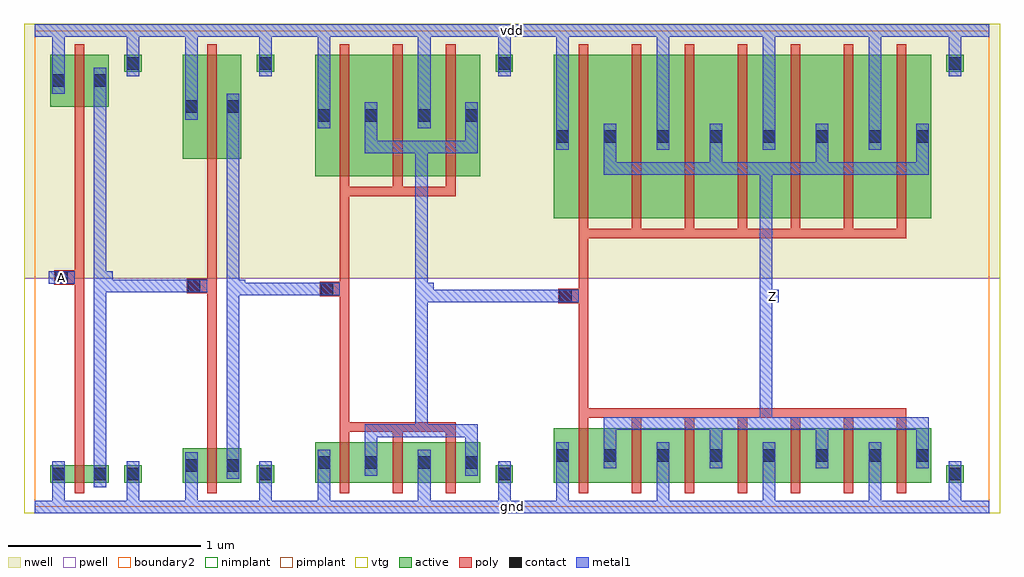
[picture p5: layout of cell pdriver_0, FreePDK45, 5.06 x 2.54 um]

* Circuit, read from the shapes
.subckt pdriver_0 A Z gnd vdd
M1 pinv_7_1/A A gnd gnd nfet w=0.09u l=0.05u
M2 pinv_8_2/A pinv_7_1/A gnd gnd nfet w=0.18u l=0.05u
M3 pinv_9_3/A pinv_8_2/A gnd gnd nfet w=0.21u l=0.05u m=3
M4 Z pinv_9_3/A gnd gnd nfet w=0.2825u l=0.05u m=7
M5 pinv_7_1/A A vdd vdd pfet w=0.27u l=0.05u
M6 pinv_8_2/A pinv_7_1/A vdd vdd pfet w=0.54u l=0.05u
M7 pinv_9_3/A pinv_8_2/A vdd vdd pfet w=0.63u l=0.05u m=3
M8 Z pinv_9_3/A vdd vdd pfet w=0.8475u l=0.05u m=7
.ends

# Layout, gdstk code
import gdstk
lib = gdstk.Library(unit=1e-6, precision=5e-10)
def R(c, l, rs):  # rectangles x0, y0, x1, y1
    for r in rs: c.add(gdstk.rectangle(r[:2], r[2:], *l))
def A(c, l, x, y, w, h, nx, ny, dx, dy):  # array of equal rectangles
    R(c, l, [(x+i*dx, y+j*dy, x+i*dx+w, y+j*dy+h) for i in range(nx) for j in range(ny)])
active = (1, 0)
pwell = (2, 0)
nwell = (3, 0)
nimplant = (4, 0)
pimplant = (5, 0)
vtg = (6, 0)
poly = (9, 0)
contact = (10, 0)
metal1 = (11, 0)
boundary2 = (239, 0)

contact_11 = lib.new_cell('contact_11')
R(contact_11, active, [(0,0.0225,0.09,0.1125)])
R(contact_11, nwell, [(-0.055,-0.0325,0.145,0.1675)])
R(contact_11, pimplant, [(0,0.0225,0.09,0.1125)])
R(contact_11, contact, [(0.0125,0.035,0.0775,0.1)])
R(contact_11, metal1, [(0.0125,0,0.0775,0.135)])
R(contact_11, boundary2, [(-0.055,-0.0325,0.145,0.1675)])

pmos_m1_w0_270_sm1_dm1_d = lib.new_cell('pmos_m1_w0_270_sm1_dm1_da_p')
R(pmos_m1_w0_270_sm1_dm1_d, active, [(0,0,0.305,0.27)])
R(pmos_m1_w0_270_sm1_dm1_d, nwell, [(-0.08,-0.08,0.385,0.35)])
R(pmos_m1_w0_270_sm1_dm1_d, pimplant, [(0,0,0.305,0.27)])
R(pmos_m1_w0_270_sm1_dm1_d, vtg, [(-0.08,-0.08,0.385,0.35)])
R(pmos_m1_w0_270_sm1_dm1_d, poly, [(0.1275,-0.055,0.1775,0.325), (0.1275,-0.055,0.1775,0.325)])
R(pmos_m1_w0_270_sm1_dm1_d, metal1, [(0.0125,0.0675,0.0775,0.2025), (0.2275,0.0675,0.2925,0.2025)])
R(pmos_m1_w0_270_sm1_dm1_d, boundary2, [(-0.08,-0.08,0.385,0.35)])
pmos_m1_w0_270_sm1_dm1_d.add(gdstk.Reference(contact_11, (0,0.0675)))
pmos_m1_w0_270_sm1_dm1_d.add(gdstk.Reference(contact_11, (0.215,0.0675)))
pmos_m1_w0_270_sm1_dm1_d.add(gdstk.Label('G', (0.1525,0.135), layer=9, texttype=0))
pmos_m1_w0_270_sm1_dm1_d.add(gdstk.Label('S', (0.045,0.135), layer=11, texttype=0))
pmos_m1_w0_270_sm1_dm1_d.add(gdstk.Label('D', (0.26,0.135), layer=11, texttype=0))

contact_10 = lib.new_cell('contact_10')
R(contact_10, active, [(0,0.0225,0.09,0.1125)])
R(contact_10, pwell, [(-0.055,-0.0325,0.145,0.1675)])
R(contact_10, nimplant, [(0,0.0225,0.09,0.1125)])
R(contact_10, contact, [(0.0125,0.035,0.0775,0.1)])
R(contact_10, metal1, [(0.0125,0,0.0775,0.135)])
R(contact_10, boundary2, [(-0.055,-0.0325,0.145,0.1675)])

nmos_m1_w0_090_sm1_dm1_d = lib.new_cell('nmos_m1_w0_090_sm1_dm1_da_p')
R(nmos_m1_w0_090_sm1_dm1_d, active, [(0,0,0.305,0.09)])
R(nmos_m1_w0_090_sm1_dm1_d, pwell, [(-0.08,-0.08,0.385,0.17)])
R(nmos_m1_w0_090_sm1_dm1_d, nimplant, [(0,0,0.305,0.09)])
R(nmos_m1_w0_090_sm1_dm1_d, vtg, [(-0.08,-0.08,0.385,0.17)])
R(nmos_m1_w0_090_sm1_dm1_d, poly, [(0.1275,-0.055,0.1775,0.145), (0.1275,-0.055,0.1775,0.145)])
R(nmos_m1_w0_090_sm1_dm1_d, metal1, [(0.0125,-0.0225,0.0775,0.1125), (0.2275,-0.0225,0.2925,0.1125)])
R(nmos_m1_w0_090_sm1_dm1_d, boundary2, [(-0.08,-0.08,0.385,0.17)])
nmos_m1_w0_090_sm1_dm1_d.add(gdstk.Reference(contact_10, (0,-0.0225)))
nmos_m1_w0_090_sm1_dm1_d.add(gdstk.Reference(contact_10, (0.215,-0.0225)))
nmos_m1_w0_090_sm1_dm1_d.add(gdstk.Label('G', (0.1525,0.045), layer=9, texttype=0))
nmos_m1_w0_090_sm1_dm1_d.add(gdstk.Label('S', (0.045,0.045), layer=11, texttype=0))
nmos_m1_w0_090_sm1_dm1_d.add(gdstk.Label('D', (0.26,0.045), layer=11, texttype=0))

contact_12 = lib.new_cell('contact_12')
R(contact_12, active, [(0,0.0225,0.09,0.1125)])
R(contact_12, nwell, [(-0.055,-0.0325,0.145,0.1675)])
R(contact_12, nimplant, [(0,0.0225,0.09,0.1125)])
R(contact_12, contact, [(0.0125,0.035,0.0775,0.1)])
R(contact_12, metal1, [(0.0125,0,0.0775,0.135)])
R(contact_12, boundary2, [(-0.055,-0.0325,0.145,0.1675)])

contact_13 = lib.new_cell('contact_13')
R(contact_13, active, [(0,0.0225,0.09,0.1125)])
R(contact_13, pwell, [(-0.055,-0.0325,0.145,0.1675)])
R(contact_13, pimplant, [(0,0.0225,0.09,0.1125)])
R(contact_13, contact, [(0.0125,0.035,0.0775,0.1)])
R(contact_13, metal1, [(0.0125,0,0.0775,0.135)])
R(contact_13, boundary2, [(-0.055,-0.0325,0.145,0.1675)])

contact_14 = lib.new_cell('contact_14')
R(contact_14, poly, [(0.03,0,0.105,0.075)])
R(contact_14, contact, [(0.035,0.005,0.1,0.07)])
R(contact_14, metal1, [(0,0.005,0.135,0.07)])
R(contact_14, boundary2, [(0,0,0.135,0.075)])

pinv_6 = lib.new_cell('pinv_6')
R(pinv_6, pwell, [(-0.055,-0.0325,0.7425,1.185)])
R(pinv_6, nwell, [(-0.055,1.185,0.7425,2.505)])
R(pinv_6, vtg, [(-0.055,-0.0325,0.7425,1.185), (-0.055,1.185,0.7425,2.505)])
R(pinv_6, poly, [(0.2075,0.27,0.2575,2.02), (0.14,1.1525,0.2075,1.2275)])
R(pinv_6, metal1, [(0,-0.0325,0.6875,0.0325), (0.0925,-0.0325,0.1575,0.1025), (0.4775,0,0.5425,0.17), (0.3075,0.1025,0.3725,2.2775), (0.0725,1.1575,0.2075,1.2225), (0.34,1.1575,0.405,1.2225), (0.0925,2.1425,0.1575,2.5025), (0.4775,2.3,0.5425,2.47), (0,2.4375,0.6875,2.5025)])
R(pinv_6, boundary2, [(0,0,0.6875,2.47), (0,0,0.6875,2.47)])
pinv_6.add(gdstk.Reference(pmos_m1_w0_270_sm1_dm1_d, (0.08,2.075)))
pinv_6.add(gdstk.Reference(nmos_m1_w0_090_sm1_dm1_d, (0.08,0.125)))
pinv_6.add(gdstk.Reference(contact_12, (0.465,2.2325)))
pinv_6.add(gdstk.Reference(contact_13, (0.465,0.1025)))
pinv_6.add(gdstk.Reference(contact_14, (0.0725,1.1525)))
pinv_6.add(gdstk.Label('A', (0.14,1.19), layer=11, texttype=0))
pinv_6.add(gdstk.Label('Z', (0.3725,1.19), layer=11, texttype=0))
pinv_6.add(gdstk.Label('gnd', (0.344,0), layer=11, texttype=0))
pinv_6.add(gdstk.Label('vdd', (0.344,2.47), layer=11, texttype=0))

pmos_m1_w0_540_sm1_dm1_d = lib.new_cell('pmos_m1_w0_540_sm1_dm1_da_p')
R(pmos_m1_w0_540_sm1_dm1_d, active, [(0,0,0.305,0.54)])
R(pmos_m1_w0_540_sm1_dm1_d, nwell, [(-0.08,-0.08,0.385,0.62)])
R(pmos_m1_w0_540_sm1_dm1_d, pimplant, [(0,0,0.305,0.54)])
R(pmos_m1_w0_540_sm1_dm1_d, vtg, [(-0.08,-0.08,0.385,0.62)])
R(pmos_m1_w0_540_sm1_dm1_d, poly, [(0.1275,-0.055,0.1775,0.595), (0.1275,-0.055,0.1775,0.595)])
R(pmos_m1_w0_540_sm1_dm1_d, metal1, [(0.0125,0.2025,0.0775,0.3375), (0.2275,0.2025,0.2925,0.3375)])
R(pmos_m1_w0_540_sm1_dm1_d, boundary2, [(-0.08,-0.08,0.385,0.62)])
pmos_m1_w0_540_sm1_dm1_d.add(gdstk.Reference(contact_11, (0,0.2025)))
pmos_m1_w0_540_sm1_dm1_d.add(gdstk.Reference(contact_11, (0.215,0.2025)))
pmos_m1_w0_540_sm1_dm1_d.add(gdstk.Label('G', (0.1525,0.27), layer=9, texttype=0))
pmos_m1_w0_540_sm1_dm1_d.add(gdstk.Label('S', (0.045,0.27), layer=11, texttype=0))
pmos_m1_w0_540_sm1_dm1_d.add(gdstk.Label('D', (0.26,0.27), layer=11, texttype=0))

nmos_m1_w0_180_sm1_dm1_d = lib.new_cell('nmos_m1_w0_180_sm1_dm1_da_p')
R(nmos_m1_w0_180_sm1_dm1_d, active, [(0,0,0.305,0.18)])
R(nmos_m1_w0_180_sm1_dm1_d, pwell, [(-0.08,-0.08,0.385,0.26)])
R(nmos_m1_w0_180_sm1_dm1_d, nimplant, [(0,0,0.305,0.18)])
R(nmos_m1_w0_180_sm1_dm1_d, vtg, [(-0.08,-0.08,0.385,0.26)])
R(nmos_m1_w0_180_sm1_dm1_d, poly, [(0.1275,-0.055,0.1775,0.235), (0.1275,-0.055,0.1775,0.235)])
R(nmos_m1_w0_180_sm1_dm1_d, metal1, [(0.0125,0.0225,0.0775,0.1575), (0.2275,0.0225,0.2925,0.1575)])
R(nmos_m1_w0_180_sm1_dm1_d, boundary2, [(-0.08,-0.08,0.385,0.26)])
nmos_m1_w0_180_sm1_dm1_d.add(gdstk.Reference(contact_10, (0,0.0225)))
nmos_m1_w0_180_sm1_dm1_d.add(gdstk.Reference(contact_10, (0.215,0.0225)))
nmos_m1_w0_180_sm1_dm1_d.add(gdstk.Label('G', (0.1525,0.09), layer=9, texttype=0))
nmos_m1_w0_180_sm1_dm1_d.add(gdstk.Label('S', (0.045,0.09), layer=11, texttype=0))
nmos_m1_w0_180_sm1_dm1_d.add(gdstk.Label('D', (0.26,0.09), layer=11, texttype=0))

pinv_7 = lib.new_cell('pinv_7')
R(pinv_7, pwell, [(-0.055,-0.0325,0.7425,1.185)])
R(pinv_7, nwell, [(-0.055,1.185,0.7425,2.505)])
R(pinv_7, vtg, [(-0.055,-0.0325,0.7425,1.185), (-0.055,1.185,0.7425,2.505)])
R(pinv_7, poly, [(0.2075,0.36,0.2575,1.75), (0.14,1.1075,0.2075,1.1825)])
R(pinv_7, metal1, [(0,-0.0325,0.6875,0.0325), (0.0925,-0.0325,0.1575,0.1475), (0.4775,0,0.5425,0.17), (0.3075,0.1475,0.3725,2.1425), (0.0725,1.1125,0.2075,1.1775), (0.34,1.1125,0.405,1.1775), (0.0925,2.0075,0.1575,2.5025), (0.4775,2.3,0.5425,2.47), (0,2.4375,0.6875,2.5025)])
R(pinv_7, boundary2, [(0,0,0.6875,2.47), (0,0,0.6875,2.47)])
pinv_7.add(gdstk.Reference(pmos_m1_w0_540_sm1_dm1_d, (0.08,1.805)))
pinv_7.add(gdstk.Reference(nmos_m1_w0_180_sm1_dm1_d, (0.08,0.125)))
pinv_7.add(gdstk.Reference(contact_12, (0.465,2.2325)))
pinv_7.add(gdstk.Reference(contact_13, (0.465,0.1025)))
pinv_7.add(gdstk.Reference(contact_14, (0.0725,1.1075)))
pinv_7.add(gdstk.Label('A', (0.14,1.145), layer=11, texttype=0))
pinv_7.add(gdstk.Label('Z', (0.3725,1.145), layer=11, texttype=0))
pinv_7.add(gdstk.Label('gnd', (0.344,0), layer=11, texttype=0))
pinv_7.add(gdstk.Label('vdd', (0.344,2.47), layer=11, texttype=0))

pmos_m3_w0_630_sm1_dm1_d = lib.new_cell('pmos_m3_w0_630_sm1_dm1_da_p')
R(pmos_m3_w0_630_sm1_dm1_d, active, [(0,0,0.855,0.63)])
R(pmos_m3_w0_630_sm1_dm1_d, nwell, [(-0.08,-0.08,0.935,0.71)])
R(pmos_m3_w0_630_sm1_dm1_d, pimplant, [(0,0,0.855,0.63)])
R(pmos_m3_w0_630_sm1_dm1_d, vtg, [(-0.08,-0.08,0.935,0.71)])
A(pmos_m3_w0_630_sm1_dm1_d, poly, 0.1275, -0.055, 0.05, 0.74, 3, 1, 0.275, 0)
R(pmos_m3_w0_630_sm1_dm1_d, poly, [(0.1275,-0.105,0.7275,-0.055)])
R(pmos_m3_w0_630_sm1_dm1_d, metal1, [(0.2575,0.1175,0.8425,0.1825), (0.2575,0.15,0.3225,0.315), (0.7775,0.15,0.8425,0.315), (0.0125,0.2475,0.0775,0.3825), (0.5325,0.2475,0.5975,0.3825)])
R(pmos_m3_w0_630_sm1_dm1_d, boundary2, [(-0.08,-0.105,0.935,0.71)])
pmos_m3_w0_630_sm1_dm1_d.add(gdstk.Reference(contact_11, (0,0.2475)))
pmos_m3_w0_630_sm1_dm1_d.add(gdstk.Reference(contact_11, (0.245,0.2475)))
pmos_m3_w0_630_sm1_dm1_d.add(gdstk.Reference(contact_11, (0.52,0.2475)))
pmos_m3_w0_630_sm1_dm1_d.add(gdstk.Reference(contact_11, (0.765,0.2475)))
pmos_m3_w0_630_sm1_dm1_d.add(gdstk.Label('G', (0.4275,-0.08), layer=9, texttype=0))
pmos_m3_w0_630_sm1_dm1_d.add(gdstk.Label('S', (0.565,0.315), layer=11, texttype=0))
pmos_m3_w0_630_sm1_dm1_d.add(gdstk.Label('S', (0.045,0.315), layer=11, texttype=0))
pmos_m3_w0_630_sm1_dm1_d.add(gdstk.Label('D', (0.55,0.15), layer=11, texttype=0))

nmos_m3_w0_210_sm1_dm1_d = lib.new_cell('nmos_m3_w0_210_sm1_dm1_da_p')
R(nmos_m3_w0_210_sm1_dm1_d, active, [(0,0,0.855,0.21)])
R(nmos_m3_w0_210_sm1_dm1_d, pwell, [(-0.08,-0.08,0.935,0.29)])
R(nmos_m3_w0_210_sm1_dm1_d, nimplant, [(0,0,0.855,0.21)])
R(nmos_m3_w0_210_sm1_dm1_d, vtg, [(-0.08,-0.08,0.935,0.29)])
A(nmos_m3_w0_210_sm1_dm1_d, poly, 0.1275, -0.055, 0.05, 0.32, 3, 1, 0.275, 0)
R(nmos_m3_w0_210_sm1_dm1_d, poly, [(0.1275,0.265,0.7275,0.315)])
R(nmos_m3_w0_210_sm1_dm1_d, metal1, [(0.0125,0.0375,0.0775,0.1725), (0.5325,0.0375,0.5975,0.1725), (0.2575,0.105,0.3225,0.27), (0.7775,0.105,0.8425,0.27), (0.2575,0.2375,0.8425,0.3025)])
R(nmos_m3_w0_210_sm1_dm1_d, boundary2, [(-0.08,-0.08,0.935,0.315)])
nmos_m3_w0_210_sm1_dm1_d.add(gdstk.Reference(contact_10, (0,0.0375)))
nmos_m3_w0_210_sm1_dm1_d.add(gdstk.Reference(contact_10, (0.245,0.0375)))
nmos_m3_w0_210_sm1_dm1_d.add(gdstk.Reference(contact_10, (0.52,0.0375)))
nmos_m3_w0_210_sm1_dm1_d.add(gdstk.Reference(contact_10, (0.765,0.0375)))
nmos_m3_w0_210_sm1_dm1_d.add(gdstk.Label('G', (0.4275,0.29), layer=9, texttype=0))
nmos_m3_w0_210_sm1_dm1_d.add(gdstk.Label('S', (0.565,0.105), layer=11, texttype=0))
nmos_m3_w0_210_sm1_dm1_d.add(gdstk.Label('S', (0.045,0.105), layer=11, texttype=0))
nmos_m3_w0_210_sm1_dm1_d.add(gdstk.Label('D', (0.55,0.27), layer=11, texttype=0))

pinv_8 = lib.new_cell('pinv_8')
R(pinv_8, pwell, [(-0.055,-0.0325,1.2925,1.185)])
R(pinv_8, nwell, [(-0.055,1.185,1.2925,2.505)])
R(pinv_8, vtg, [(-0.055,-0.0325,1.2925,1.185), (-0.055,1.185,1.2925,2.505)])
R(pinv_8, poly, [(0.2075,0.44,0.2575,1.61), (0.14,1.0925,0.2075,1.1675)])
R(pinv_8, metal1, [(0,-0.0325,1.2375,0.0325), (0.0925,-0.0325,0.1575,0.1625), (0.6125,-0.0325,0.6775,0.1625), (1.0275,0,1.0925,0.17), (0.5975,0.3625,0.6625,1.8975), (0.0725,1.0975,0.2075,1.1625), (0.63,1.0975,0.695,1.1625), (0.0925,1.9625,0.1575,2.5025), (0.6125,1.9625,0.6775,2.5025), (1.0275,2.3,1.0925,2.47), (0,2.4375,1.2375,2.5025)])
R(pinv_8, boundary2, [(0,0,1.2375,2.47), (0,0,1.2375,2.47)])
pinv_8.add(gdstk.Reference(pmos_m3_w0_630_sm1_dm1_d, (0.08,1.715)))
pinv_8.add(gdstk.Reference(nmos_m3_w0_210_sm1_dm1_d, (0.08,0.125)))
pinv_8.add(gdstk.Reference(contact_12, (1.015,2.2325)))
pinv_8.add(gdstk.Reference(contact_13, (1.015,0.1025)))
pinv_8.add(gdstk.Reference(contact_14, (0.0725,1.0925)))
pinv_8.add(gdstk.Label('A', (0.14,1.13), layer=11, texttype=0))
pinv_8.add(gdstk.Label('Z', (0.6625,1.13), layer=11, texttype=0))
pinv_8.add(gdstk.Label('gnd', (0.619,0), layer=11, texttype=0))
pinv_8.add(gdstk.Label('vdd', (0.619,2.47), layer=11, texttype=0))

pmos_m7_w0_848_sm1_dm1_d = lib.new_cell('pmos_m7_w0_848_sm1_dm1_da_p')
R(pmos_m7_w0_848_sm1_dm1_d, active, [(0,0,1.955,0.8475)])
R(pmos_m7_w0_848_sm1_dm1_d, nwell, [(-0.08,-0.08,2.035,0.9275)])
R(pmos_m7_w0_848_sm1_dm1_d, pimplant, [(0,0,1.955,0.8475)])
R(pmos_m7_w0_848_sm1_dm1_d, vtg, [(-0.08,-0.08,2.035,0.9275)])
A(pmos_m7_w0_848_sm1_dm1_d, poly, 0.1275, -0.055, 0.05, 0.9575, 7, 1, 0.275, 0)
R(pmos_m7_w0_848_sm1_dm1_d, poly, [(0.1275,-0.105,1.8275,-0.055)])
A(pmos_m7_w0_848_sm1_dm1_d, metal1, 0.2575, 0.26, 0.065, 0.165, 3, 1, 0.55, 0)
A(pmos_m7_w0_848_sm1_dm1_d, metal1, 0.5325, 0.355, 0.065, 0.135, 3, 1, 0.55, 0)
R(pmos_m7_w0_848_sm1_dm1_d, metal1, [(0.2575,0.225,1.9425,0.29), (1.8775,0.26,1.9425,0.425), (0.0125,0.355,0.0775,0.49)])
R(pmos_m7_w0_848_sm1_dm1_d, boundary2, [(-0.08,-0.105,2.035,0.9275)])
pmos_m7_w0_848_sm1_dm1_d.add(gdstk.Reference(contact_11, (0,0.355)))
pmos_m7_w0_848_sm1_dm1_d.add(gdstk.Reference(contact_11, (0.245,0.355)))
pmos_m7_w0_848_sm1_dm1_d.add(gdstk.Reference(contact_11, (0.52,0.355)))
pmos_m7_w0_848_sm1_dm1_d.add(gdstk.Reference(contact_11, (0.795,0.355)))
pmos_m7_w0_848_sm1_dm1_d.add(gdstk.Reference(contact_11, (1.07,0.355)))
pmos_m7_w0_848_sm1_dm1_d.add(gdstk.Reference(contact_11, (1.345,0.355)))
pmos_m7_w0_848_sm1_dm1_d.add(gdstk.Reference(contact_11, (1.62,0.355)))
pmos_m7_w0_848_sm1_dm1_d.add(gdstk.Reference(contact_11, (1.865,0.355)))
pmos_m7_w0_848_sm1_dm1_d.add(gdstk.Label('G', (0.9775,-0.08), layer=9, texttype=0))
pmos_m7_w0_848_sm1_dm1_d.add(gdstk.Label('S', (0.045,0.4225), layer=11, texttype=0))
pmos_m7_w0_848_sm1_dm1_d.add(gdstk.Label('S', (1.665,0.4225), layer=11, texttype=0))
pmos_m7_w0_848_sm1_dm1_d.add(gdstk.Label('S', (1.115,0.4225), layer=11, texttype=0))
pmos_m7_w0_848_sm1_dm1_d.add(gdstk.Label('S', (0.565,0.4225), layer=11, texttype=0))
pmos_m7_w0_848_sm1_dm1_d.add(gdstk.Label('D', (1.1,0.2575), layer=11, texttype=0))

nmos_m7_w0_283_sm1_dm1_d = lib.new_cell('nmos_m7_w0_283_sm1_dm1_da_p')
R(nmos_m7_w0_283_sm1_dm1_d, active, [(0,0,1.955,0.2825)])
R(nmos_m7_w0_283_sm1_dm1_d, pwell, [(-0.08,-0.08,2.035,0.3625)])
R(nmos_m7_w0_283_sm1_dm1_d, nimplant, [(0,0,1.955,0.2825)])
R(nmos_m7_w0_283_sm1_dm1_d, vtg, [(-0.08,-0.08,2.035,0.3625)])
A(nmos_m7_w0_283_sm1_dm1_d, poly, 0.1275, -0.055, 0.05, 0.3925, 7, 1, 0.275, 0)
R(nmos_m7_w0_283_sm1_dm1_d, poly, [(0.1275,0.3375,1.8275,0.3875)])
A(nmos_m7_w0_283_sm1_dm1_d, metal1, 0.5325, 0.075, 0.065, 0.135, 3, 1, 0.55, 0)
A(nmos_m7_w0_283_sm1_dm1_d, metal1, 0.2575, 0.14, 0.065, 0.165, 3, 1, 0.55, 0)
R(nmos_m7_w0_283_sm1_dm1_d, metal1, [(0.0125,0.075,0.0775,0.21), (1.8775,0.14,1.9425,0.305), (0.2575,0.275,1.9425,0.34)])
R(nmos_m7_w0_283_sm1_dm1_d, boundary2, [(-0.08,-0.08,2.035,0.3875)])
nmos_m7_w0_283_sm1_dm1_d.add(gdstk.Reference(contact_10, (0,0.075)))
nmos_m7_w0_283_sm1_dm1_d.add(gdstk.Reference(contact_10, (0.245,0.075)))
nmos_m7_w0_283_sm1_dm1_d.add(gdstk.Reference(contact_10, (0.52,0.075)))
nmos_m7_w0_283_sm1_dm1_d.add(gdstk.Reference(contact_10, (0.795,0.075)))
nmos_m7_w0_283_sm1_dm1_d.add(gdstk.Reference(contact_10, (1.07,0.075)))
nmos_m7_w0_283_sm1_dm1_d.add(gdstk.Reference(contact_10, (1.345,0.075)))
nmos_m7_w0_283_sm1_dm1_d.add(gdstk.Reference(contact_10, (1.62,0.075)))
nmos_m7_w0_283_sm1_dm1_d.add(gdstk.Reference(contact_10, (1.865,0.075)))
nmos_m7_w0_283_sm1_dm1_d.add(gdstk.Label('G', (0.9775,0.3625), layer=9, texttype=0))
nmos_m7_w0_283_sm1_dm1_d.add(gdstk.Label('S', (0.045,0.1425), layer=11, texttype=0))
nmos_m7_w0_283_sm1_dm1_d.add(gdstk.Label('S', (1.665,0.1425), layer=11, texttype=0))
nmos_m7_w0_283_sm1_dm1_d.add(gdstk.Label('S', (1.115,0.1425), layer=11, texttype=0))
nmos_m7_w0_283_sm1_dm1_d.add(gdstk.Label('S', (0.565,0.1425), layer=11, texttype=0))
nmos_m7_w0_283_sm1_dm1_d.add(gdstk.Label('D', (1.1,0.3075), layer=11, texttype=0))

pinv_9 = lib.new_cell('pinv_9')
R(pinv_9, pwell, [(-0.055,-0.0325,2.3925,1.185)])
R(pinv_9, nwell, [(-0.055,1.185,2.3925,2.505)])
R(pinv_9, vtg, [(-0.055,-0.0325,2.3925,1.185), (-0.055,1.185,2.3925,2.505)])
R(pinv_9, poly, [(0.2075,0.5125,0.2575,1.3925), (0.14,1.055,0.2075,1.13)])
A(pinv_9, metal1, 0.6125, -0.0325, 0.065, 0.2325, 3, 1, 0.55, 0)
A(pinv_9, metal1, 0.6125, 1.8525, 0.065, 0.65, 3, 1, 0.55, 0)
R(pinv_9, metal1, [(0,-0.0325,2.3375,0.0325), (0.0925,-0.0325,0.1575,0.2), (2.1275,0,2.1925,0.17), (1.1475,0.4,1.2125,1.7875), (0.0725,1.06,0.2075,1.125), (1.18,1.06,1.245,1.125), (0.0925,1.8525,0.1575,2.5025), (2.1275,2.3,2.1925,2.47), (0,2.4375,2.3375,2.5025)])
R(pinv_9, boundary2, [(0,0,2.3375,2.47), (0,0,2.3375,2.47)])
pinv_9.add(gdstk.Reference(pmos_m7_w0_848_sm1_dm1_d, (0.08,1.4975)))
pinv_9.add(gdstk.Reference(nmos_m7_w0_283_sm1_dm1_d, (0.08,0.125)))
pinv_9.add(gdstk.Reference(contact_12, (2.115,2.2325)))
pinv_9.add(gdstk.Reference(contact_13, (2.115,0.1025)))
pinv_9.add(gdstk.Reference(contact_14, (0.0725,1.055)))
pinv_9.add(gdstk.Label('A', (0.14,1.0925), layer=11, texttype=0))
pinv_9.add(gdstk.Label('Z', (1.2125,1.0925), layer=11, texttype=0))
pinv_9.add(gdstk.Label('gnd', (1.169,0), layer=11, texttype=0))
pinv_9.add(gdstk.Label('vdd', (1.169,2.47), layer=11, texttype=0))

pdriver_0 = lib.new_cell('pdriver_0')
R(pdriver_0, pwell, [(-0.055,-0.0325,5.005,1.185)])
R(pdriver_0, nwell, [(-0.055,1.185,5.005,2.505)])
R(pdriver_0, vtg, [(-0.055,-0.0325,5.005,1.185), (-0.055,1.185,5.005,2.505)])
R(pdriver_0, metal1, [(0,-0.0325,4.95,0.0325), (2.005,1.06,2.07,1.125), (2.0375,1.06,2.7525,1.125), (3.7925,1.06,3.8575,1.125), (2.005,1.0925,2.07,1.13), (1.0275,1.0975,1.0925,1.1625), (1.06,1.0975,1.515,1.1625), (0.34,1.1125,0.405,1.1775), (0.3725,1.1125,0.8275,1.1775), (1.0275,1.13,1.0925,1.145), (0.34,1.145,0.405,1.19), (0.0725,1.1575,0.2075,1.2225), (0,2.4375,4.95,2.5025)])
R(pdriver_0, boundary2, [(0,0,4.95,2.47), (0,0,4.95,2.47)])
pdriver_0.add(gdstk.Reference(pinv_6, (0,0)))
pdriver_0.add(gdstk.Reference(pinv_7, (0.6875,0)))
pdriver_0.add(gdstk.Reference(pinv_8, (1.375,0)))
pdriver_0.add(gdstk.Reference(pinv_9, (2.6125,0)))
pdriver_0.add(gdstk.Label('Z', (3.825,1.0925), layer=11, texttype=0))
pdriver_0.add(gdstk.Label('A', (0.14,1.19), layer=11, texttype=0))
pdriver_0.add(gdstk.Label('gnd', (2.475,0), layer=11, texttype=0))
pdriver_0.add(gdstk.Label('vdd', (2.475,2.47), layer=11, texttype=0))

lib.write_gds('pdriver_0.gds')
